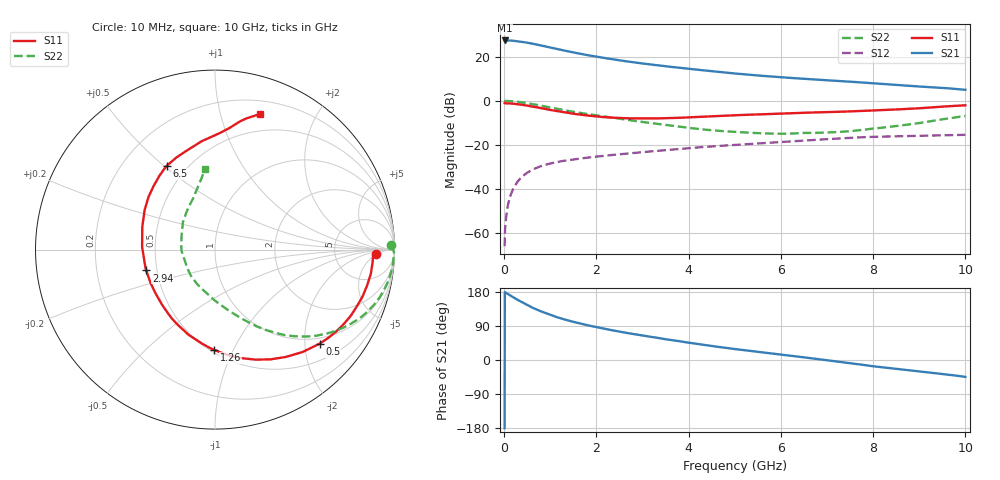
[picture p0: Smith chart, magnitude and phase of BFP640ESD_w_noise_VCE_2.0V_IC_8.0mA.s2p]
! Infineon Technologies  Discrete & RF Semiconductors
! BFP640ESD
! VCE =  2.0 V,  IC =  8.0 mA
! Common Emitter S-Parameters:  Jan 2016
# GHz  S  MA  R  50
!  f  S11  S21  S12  S22
! GHz  MAG  ANG  MAG  ANG  MAG  ANG  MAG  ANG
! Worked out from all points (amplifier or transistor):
!   233 points, 10 MHz to 10 GHz, reference 50 ohm
!   highest |S21| = 27.5 dB at 10 MHz (marker M1)
!   |S21| within 3 dB of that: start of sweep to 955 MHz
!   unconditionally stable (mu >= 1): 4.302 GHz to 9.045 GHz
!   at 200 MHz: K = 0.08, MSG = 33.6 dB, |S12| = -39.8 dB
!   at 1.74 GHz: K = 0.62, MSG = 23.5 dB, |S12| = -26.0 dB
!   at 10 GHz: K = 0.87, MSG = 10.2 dB, |S12| = -15.4 dB
!   lowest NFmin = 0.63 dB at 450 MHz
!   S11 on the Smith chart (normalised r, x): 10 MHz: 17, -4; 500 MHz: 0.86, -2.33; 1.26 GHz: 0.52, -0.84; 2.94 GHz: 0.44, -0.12; 6.5 GHz: 0.39, +0.51; 10 GHz: 0.32, +1.33
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0.01  0.8954 -1.4  23.64 -180.0  0.0005 90.7  0.982 1.4
0.02  0.8816 -1.9  23.55 179.0  0.0012 87.4  0.9975 -0.8
0.065  0.88 -5.7  23.53 175.1  0.0034 85.6  0.9952 -3.6
0.1  0.8787 -8.8  23.6 172.8  0.0052 84.8  0.9933 -5.5
0.2  0.8631 -17.5  23.27 165.4  0.0102 80.3  0.9786 -10.9
0.36  0.8258 -30.9  22.24 154.1  0.0176 73.3  0.9373 -19.2
0.5  0.7836 -42.0  21.04 145.0  0.0234 67.8  0.8899 -25.7
0.6  0.751 -49.4  20.09 138.9  0.0269 64.3  0.8522 -29.8
0.8  0.6856 -63.1  18.14 128.3  0.033 58.5  0.7778 -37.0
1  0.6245 -75.8  16.34 119.0  0.0378 54.0  0.7073 -43.2
1.26  0.5583 -90.5  14.27 108.8  0.0429 49.8  0.628 -49.7
1.4  0.5284 -98.0  13.27 103.8  0.0452 48.0  0.59 -52.7
1.68  0.4821 -111.4  11.64 95.2  0.0495 45.5  0.5279 -57.7
2.2  0.4258 -134.0  9.34 81.7  0.0569 42.5  0.4379 -66.1
2.94  0.4 -163.1  7.216 65.7  0.0676 39.1  0.3386 -78.8
3.4  0.4024 -178.7  6.302 56.9  0.0746 36.9  0.2937 -87.6
4.5  0.45 150.6  4.737 36.7  0.0924 30.5  0.2155 -118.0
5.1  0.4766 139.8  4.109 27.5  0.1015 26.7  0.195 -135.0
6.5  0.5388 120.1  3.181 6.9  0.1254 17.2  0.1871 -178.5
6.8  0.5483 115.6  3.035 2.4  0.1311 14.7  0.1887 174.0
8.4  0.6323 90.9  2.336 -22.1  0.1562 -1.6  0.2604 128.0
10  0.7952 71.7  1.787 -44.5  0.1697 -16.0  0.4537 96.9
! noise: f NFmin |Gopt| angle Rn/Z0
0.45  0.63  0.26  9  0.1
0.9  0.65  0.24  22  0.11
1.9  0.69  0.18  38  0.11
2.4  0.73  0.14  55  0.1
5.5  1.02  0.32  -137  0.13
10  1.86  0.6  -80  0.73
